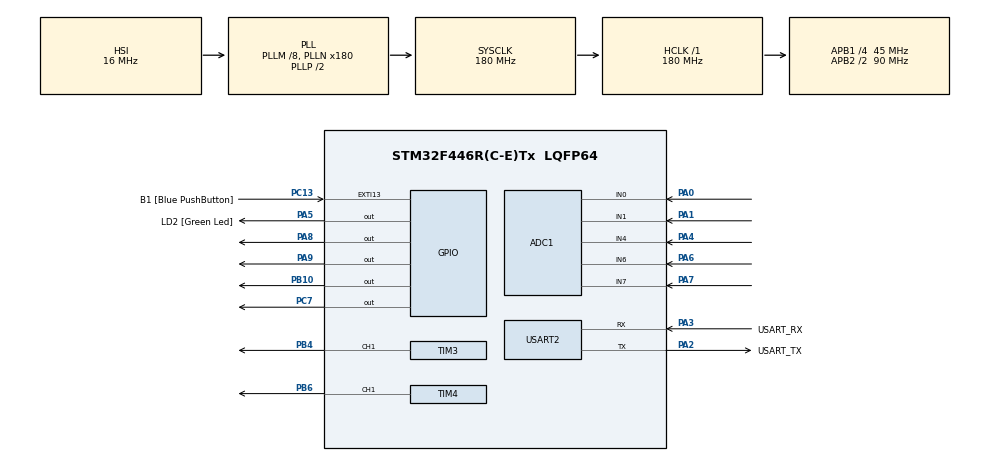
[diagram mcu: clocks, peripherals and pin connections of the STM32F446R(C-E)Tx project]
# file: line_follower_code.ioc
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ADC1.Channel-0\#ChannelRegularConversion=ADC_CHANNEL_4
ADC1.ContinuousConvMode=ENABLE
ADC1.NbrOfConversionFlag=1
ADC1.Rank-0\#ChannelRegularConversion=1
ADC1.SamplingTime-0\#ChannelRegularConversion=ADC_SAMPLETIME_3CYCLES
ADC1.ScanConvMode=ENABLE
ADC1.master=1
Mcu.Family=STM32F4
Mcu.Name=STM32F446R(C-E)Tx
Mcu.Package=LQFP64
NVIC.PriorityGroup=NVIC_PRIORITYGROUP_0
PA0-WKUP.Signal=ADCx_IN0
PA1.Signal=ADCx_IN1
PA13.GPIO_Label=TMS
PA13.Mode=Serial_Wire
PA13.Signal=SYS_JTMS-SWDIO
PA14.GPIO_Label=TCK
PA14.Mode=Serial_Wire
PA14.Signal=SYS_JTCK-SWCLK
PA2.GPIO_Label=USART_TX
PA2.Mode=Asynchronous
PA2.Signal=USART2_TX
PA3.GPIO_Label=USART_RX
PA3.Mode=Asynchronous
PA3.Signal=USART2_RX
PA4.Signal=ADCx_IN4
PA5.GPIO_Label=LD2 [Green Led]
PA5.Signal=GPIO_Output
PA6.Signal=ADCx_IN6
PA7.Signal=ADCx_IN7
PA8.Signal=GPIO_Output
PA9.Signal=GPIO_Output
PB10.Signal=GPIO_Output
PB4.Signal=S_TIM3_CH1
PB6.Signal=S_TIM4_CH1
PC13.GPIO_Label=B1 [Blue PushButton]
PC13.GPIO_ModeDefaultEXTI=GPIO_MODE_IT_FALLING
PC13.Signal=GPXTI13
PC14-OSC32_IN.Mode=LSE-External-Oscillator
PC14-OSC32_IN.Signal=RCC_OSC32_IN
PC15-OSC32_OUT.Mode=LSE-External-Oscillator
PC15-OSC32_OUT.Signal=RCC_OSC32_OUT
PC7.Signal=GPIO_Output
PH0-OSC_IN.Mode=HSE-External-Oscillator
PH0-OSC_IN.Signal=RCC_OSC_IN
PH1-OSC_OUT.Mode=HSE-External-Oscillator
PH1-OSC_OUT.Signal=RCC_OSC_OUT
ProjectManager.HeapSize=0x200
ProjectManager.StackSize=0x400
ProjectManager.TargetToolchain=STM32CubeIDE
RCC.48MHZClocksFreq_Value=84000000
RCC.AHBFreq_Value=180000000
RCC.APB1CLKDivider=RCC_HCLK_DIV4
RCC.APB1Freq_Value=45000000
RCC.APB1TimFreq_Value=90000000
RCC.APB2CLKDivider=RCC_HCLK_DIV2
RCC.APB2Freq_Value=90000000
RCC.APB2TimFreq_Value=180000000
RCC.CortexFreq_Value=180000000
RCC.FLatency-AdvancedSettings=FLASH_LATENCY_5
RCC.HCLKFreq_Value=180000000
RCC.HSE_VALUE=8000000
RCC.HSI_VALUE=16000000
RCC.PLLM=8
RCC.PLLN=180
RCC.SYSCLKFreq_VALUE=180000000
RCC.SYSCLKSource=RCC_SYSCLKSOURCE_PLLCLK
RCC.USBFreq_Value=180000000
RCC.VCOOutputFreq_Value=360000000
SH.ADCx_IN0.0=ADC1_IN0,IN0
SH.ADCx_IN1.0=ADC1_IN1,IN1
SH.ADCx_IN4.0=ADC1_IN4,IN4
SH.ADCx_IN6.0=ADC1_IN6,IN6
SH.ADCx_IN7.0=ADC1_IN7,IN7
SH.S_TIM3_CH1.0=TIM3_CH1,PWM Generation1 CH1
SH.S_TIM4_CH1.0=TIM4_CH1,PWM Generation1 CH1
TIM3.AutoReloadPreload=TIM_AUTORELOAD_PRELOAD_ENABLE
TIM3.Channel-PWM\ Generation1\ CH1=TIM_CHANNEL_1
TIM4.AutoReloadPreload=TIM_AUTORELOAD_PRELOAD_ENABLE
TIM4.Channel-PWM\ Generation1\ CH1=TIM_CHANNEL_1
USART2.VirtualMode=VM_ASYNC
board=NUCLEO-F446RE

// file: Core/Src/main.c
/* USER CODE BEGIN Header */
/**
 ******************************************************************************
 * @file           : main.c
 * @brief          : Main program body
 ******************************************************************************
 * @attention
 *
 * Copyright (c) 2023 STMicroelectronics.
 * All rights reserved.
 *
 * This software is licensed under terms that can be found in the LICENSE file
 * in the root directory of this software component.
 * If no LICENSE file comes with this software, it is provided AS-IS.
 *
 ******************************************************************************
 */
/* USER CODE END Header */
#include "main.h"

ADC_HandleTypeDef hadc1;

TIM_HandleTypeDef htim3;
TIM_HandleTypeDef htim4;

UART_HandleTypeDef huart2;

/* USER CODE BEGIN PV */

int uturn = 100;
int th[5] = { 582, 595, 401, 475, 425 };
int sen_pins[5] = { 0, 1, 4, 6, 7 };
int i, sen[5], s[5], lastSensor, lastError;
int base_L = 175;
int base_R = 175;
float kp = 2.0;
float kd = 0.4;

/* USER CODE END PV */

void SystemClock_Config(void);
static void MX_GPIO_Init(void);
static void MX_USART2_UART_Init(void);
static void MX_ADC1_Init(void);
static void MX_TIM3_Init(void);
static void MX_TIM4_Init(void);
/* USER CODE BEGIN PFP */
void ADC_Select_Channel(int a);
int analogRead(int a);
int readSensor();
void wheel(int lm, int rm);
void line_follow();
void analogWrite1(int data_speed);
void analogWrite2(int data_speed);

/* USER CODE END PFP */

int main(void) {

	/* MCU Configuration--------------------------------------------------------*/

	/* Reset of all peripherals, Initializes the Flash interface and the Systick. */
	HAL_Init();

	/* Configure the system clock */
	SystemClock_Config();

	/* Initialize all configured peripherals */
	MX_GPIO_Init();
	MX_USART2_UART_Init();
	MX_ADC1_Init();
	MX_TIM3_Init();
	MX_TIM4_Init();
	/* USER CODE BEGIN 2 */
	HAL_TIM_PWM_Start(&htim3, TIM_CHANNEL_1);
	HAL_TIM_PWM_Start(&htim4, TIM_CHANNEL_1);

	/* USER CODE END 2 */

	/* Infinite loop */
	while (1) {

		/* USER CODE BEGIN 3 */
		line_follow();
	}
	/* USER CODE END 3 */
}

void SystemClock_Config(void) {
	RCC_OscInitTypeDef RCC_OscInitStruct = { 0 };
	RCC_ClkInitTypeDef RCC_ClkInitStruct = { 0 };

	/** Configure the main internal regulator output voltage
	 */
	__HAL_RCC_PWR_CLK_ENABLE();
	__HAL_PWR_VOLTAGESCALING_CONFIG(PWR_REGULATOR_VOLTAGE_SCALE1);

	/** Initializes the RCC Oscillators according to the specified parameters
	 * in the RCC_OscInitTypeDef structure.
	 */
	RCC_OscInitStruct.OscillatorType = RCC_OSCILLATORTYPE_HSI;
	RCC_OscInitStruct.HSIState = RCC_HSI_ON;
	RCC_OscInitStruct.HSICalibrationValue = RCC_HSICALIBRATION_DEFAULT;
	RCC_OscInitStruct.PLL.PLLState = RCC_PLL_ON;
	RCC_OscInitStruct.PLL.PLLSource = RCC_PLLSOURCE_HSI;
	RCC_OscInitStruct.PLL.PLLM = 8;
	RCC_OscInitStruct.PLL.PLLN = 180;
	RCC_OscInitStruct.PLL.PLLP = RCC_PLLP_DIV2;
	RCC_OscInitStruct.PLL.PLLQ = 2;
	RCC_OscInitStruct.PLL.PLLR = 2;
	if (HAL_RCC_OscConfig(&RCC_OscInitStruct) != HAL_OK) {
		Error_Handler();
	}

	/** Activate the Over-Drive mode
	 */
	if (HAL_PWREx_EnableOverDrive() != HAL_OK) {
		Error_Handler();
	}

	/** Initializes the CPU, AHB and APB buses clocks
	 */
	RCC_ClkInitStruct.ClockType = RCC_CLOCKTYPE_HCLK | RCC_CLOCKTYPE_SYSCLK
			| RCC_CLOCKTYPE_PCLK1 | RCC_CLOCKTYPE_PCLK2;
	RCC_ClkInitStruct.SYSCLKSource = RCC_SYSCLKSOURCE_PLLCLK;
	RCC_ClkInitStruct.AHBCLKDivider = RCC_SYSCLK_DIV1;
	RCC_ClkInitStruct.APB1CLKDivider = RCC_HCLK_DIV4;
	RCC_ClkInitStruct.APB2CLKDivider = RCC_HCLK_DIV2;

	if (HAL_RCC_ClockConfig(&RCC_ClkInitStruct, FLASH_LATENCY_5) != HAL_OK) {
		Error_Handler();
	}
}

static void MX_ADC1_Init(void) {

	ADC_ChannelConfTypeDef sConfig = { 0 };

	/** Configure the global features of the ADC (Clock, Resolution, Data Alignment and number of conversion)
	 */
	hadc1.Instance = ADC1;
	hadc1.Init.ClockPrescaler = ADC_CLOCK_SYNC_PCLK_DIV4;
	hadc1.Init.Resolution = ADC_RESOLUTION_12B;
	hadc1.Init.ScanConvMode = ENABLE;
	hadc1.Init.ContinuousConvMode = ENABLE;
	hadc1.Init.DiscontinuousConvMode = DISABLE;
	hadc1.Init.ExternalTrigConvEdge = ADC_EXTERNALTRIGCONVEDGE_NONE;
	hadc1.Init.ExternalTrigConv = ADC_SOFTWARE_START;
	hadc1.Init.DataAlign = ADC_DATAALIGN_RIGHT;
	hadc1.Init.NbrOfConversion = 1;
	hadc1.Init.DMAContinuousRequests = DISABLE;
	hadc1.Init.EOCSelection = ADC_EOC_SINGLE_CONV;
	if (HAL_ADC_Init(&hadc1) != HAL_OK) {
		Error_Handler();
	}

	/** Configure for the selected ADC regular channel its corresponding rank in the sequencer and its sample time.
	 */
	sConfig.Channel = ADC_CHANNEL_4;
	sConfig.Rank = 1;
	sConfig.SamplingTime = ADC_SAMPLETIME_3CYCLES;
	if (HAL_ADC_ConfigChannel(&hadc1, &sConfig) != HAL_OK) {
		Error_Handler();
	}

}

static void MX_TIM3_Init(void) {

	TIM_MasterConfigTypeDef sMasterConfig = { 0 };
	TIM_OC_InitTypeDef sConfigOC = { 0 };

	htim3.Instance = TIM3;
	htim3.Init.Prescaler = 0;
	htim3.Init.CounterMode = TIM_COUNTERMODE_UP;
	htim3.Init.Period = 65535;
	htim3.Init.ClockDivision = TIM_CLOCKDIVISION_DIV1;
	htim3.Init.AutoReloadPreload = TIM_AUTORELOAD_PRELOAD_ENABLE;
	if (HAL_TIM_PWM_Init(&htim3) != HAL_OK) {
		Error_Handler();
	}
	sMasterConfig.MasterOutputTrigger = TIM_TRGO_RESET;
	sMasterConfig.MasterSlaveMode = TIM_MASTERSLAVEMODE_DISABLE;
	if (HAL_TIMEx_MasterConfigSynchronization(&htim3, &sMasterConfig)
			!= HAL_OK) {
		Error_Handler();
	}
	sConfigOC.OCMode = TIM_OCMODE_PWM1;
	sConfigOC.Pulse = 0;
	sConfigOC.OCPolarity = TIM_OCPOLARITY_HIGH;
	sConfigOC.OCFastMode = TIM_OCFAST_DISABLE;
	if (HAL_TIM_PWM_ConfigChannel(&htim3, &sConfigOC, TIM_CHANNEL_1)
			!= HAL_OK) {
		Error_Handler();
	}
	HAL_TIM_MspPostInit(&htim3);

}

static void MX_TIM4_Init(void) {

	TIM_MasterConfigTypeDef sMasterConfig = { 0 };
	TIM_OC_InitTypeDef sConfigOC = { 0 };

	htim4.Instance = TIM4;
	htim4.Init.Prescaler = 0;
	htim4.Init.CounterMode = TIM_COUNTERMODE_UP;
	htim4.Init.Period = 65535;
	htim4.Init.ClockDivision = TIM_CLOCKDIVISION_DIV1;
	htim4.Init.AutoReloadPreload = TIM_AUTORELOAD_PRELOAD_ENABLE;
	if (HAL_TIM_PWM_Init(&htim4) != HAL_OK) {
		Error_Handler();
	}
	sMasterConfig.MasterOutputTrigger = TIM_TRGO_RESET;
	sMasterConfig.MasterSlaveMode = TIM_MASTERSLAVEMODE_DISABLE;
	if (HAL_TIMEx_MasterConfigSynchronization(&htim4, &sMasterConfig)
			!= HAL_OK) {
		Error_Handler();
	}
	sConfigOC.OCMode = TIM_OCMODE_PWM1;
	sConfigOC.Pulse = 0;
	sConfigOC.OCPolarity = TIM_OCPOLARITY_HIGH;
	sConfigOC.OCFastMode = TIM_OCFAST_DISABLE;
	if (HAL_TIM_PWM_ConfigChannel(&htim4, &sConfigOC, TIM_CHANNEL_1)
			!= HAL_OK) {
		Error_Handler();
	}
	HAL_TIM_MspPostInit(&htim4);

}

static void MX_USART2_UART_Init(void) {

	huart2.Instance = USART2;
	huart2.Init.BaudRate = 115200;
	huart2.Init.WordLength = UART_WORDLENGTH_8B;
	huart2.Init.StopBits = UART_STOPBITS_1;
	huart2.Init.Parity = UART_PARITY_NONE;
	huart2.Init.Mode = UART_MODE_TX_RX;
	huart2.Init.HwFlowCtl = UART_HWCONTROL_NONE;
	huart2.Init.OverSampling = UART_OVERSAMPLING_16;
	if (HAL_UART_Init(&huart2) != HAL_OK) {
		Error_Handler();
	}

}

static void MX_GPIO_Init(void) {
	GPIO_InitTypeDef GPIO_InitStruct = { 0 };

	/* GPIO Ports Clock Enable */
	__HAL_RCC_GPIOC_CLK_ENABLE();
	__HAL_RCC_GPIOH_CLK_ENABLE();
	__HAL_RCC_GPIOA_CLK_ENABLE();
	__HAL_RCC_GPIOB_CLK_ENABLE();

	/*Configure GPIO pin Output Level */
	HAL_GPIO_WritePin(GPIOA, LD2_Pin | GPIO_PIN_8 | GPIO_PIN_9, GPIO_PIN_RESET);

	/*Configure GPIO pin Output Level */
	HAL_GPIO_WritePin(GPIOB, GPIO_PIN_10, GPIO_PIN_RESET);

	/*Configure GPIO pin Output Level */
	HAL_GPIO_WritePin(GPIOC, GPIO_PIN_7, GPIO_PIN_RESET);

	/*Configure GPIO pin : B1_Pin */
	GPIO_InitStruct.Pin = B1_Pin;
	GPIO_InitStruct.Mode = GPIO_MODE_IT_FALLING;
	GPIO_InitStruct.Pull = GPIO_NOPULL;
	HAL_GPIO_Init(B1_GPIO_Port, &GPIO_InitStruct);

	/*Configure GPIO pins : LD2_Pin PA8 PA9 */
	GPIO_InitStruct.Pin = LD2_Pin | GPIO_PIN_8 | GPIO_PIN_9;
	GPIO_InitStruct.Mode = GPIO_MODE_OUTPUT_PP;
	GPIO_InitStruct.Pull = GPIO_NOPULL;
	GPIO_InitStruct.Speed = GPIO_SPEED_FREQ_LOW;
	HAL_GPIO_Init(GPIOA, &GPIO_InitStruct);

	/*Configure GPIO pin : PB10 */
	GPIO_InitStruct.Pin = GPIO_PIN_10;
	GPIO_InitStruct.Mode = GPIO_MODE_OUTPUT_PP;
	GPIO_InitStruct.Pull = GPIO_NOPULL;
	GPIO_InitStruct.Speed = GPIO_SPEED_FREQ_LOW;
	HAL_GPIO_Init(GPIOB, &GPIO_InitStruct);

	/*Configure GPIO pin : PC7 */
	GPIO_InitStruct.Pin = GPIO_PIN_7;
	GPIO_InitStruct.Mode = GPIO_MODE_OUTPUT_PP;
	GPIO_InitStruct.Pull = GPIO_NOPULL;
	GPIO_InitStruct.Speed = GPIO_SPEED_FREQ_LOW;
	HAL_GPIO_Init(GPIOC, &GPIO_InitStruct);

}

/* USER CODE BEGIN 4 */
void ADC_Select_Channel(int a) {
	ADC_ChannelConfTypeDef sConfig = { 0 };
	/** Configure for the selected ADC regular channel its corresponding rank in the sequencer and its sample time.
	 */
	if (a == 0) {
		sConfig.Channel = ADC_CHANNEL_0;

	}
	if (a == 1) {
		sConfig.Channel = ADC_CHANNEL_1;

	}
	if (a == 4) {
		sConfig.Channel = ADC_CHANNEL_4;

	}
	if (a == 6) {
		sConfig.Channel = ADC_CHANNEL_6;

	}
	if (a == 7) {
		sConfig.Channel = ADC_CHANNEL_7;

	}

	sConfig.Rank = 1;
	sConfig.SamplingTime = ADC_SAMPLETIME_28CYCLES;
	if (HAL_ADC_ConfigChannel(&hadc1, &sConfig) != HAL_OK) {
		Error_Handler();
	}

}

int analogRead(int a) {
	//for channel 0
	int adc_data;
	ADC_Select_Channel(a);
	HAL_ADC_Start(&hadc1);
	HAL_ADC_PollForConversion(&hadc1, 1000);
	adc_data = HAL_ADC_GetValue(&hadc1);
	HAL_ADC_Stop(&hadc1);
	return adc_data;

}
;
int readSensor() {
	for (i = 0; i < 5; i++) {
		sen[i] = analogRead(sen_pins[i]);
		if (sen[i] < th[i]) {
			s[i] = 1;
		} else {
			s[i] = 0;
		}
	}

	int error, sum;
	sum = s[0] + s[1] + s[2] + s[3] + s[4];
	if (sum != 0) {
		error = (s[0] * 10 + s[1] * 20 + s[2] * 30 + s[3] * 40 + s[4] * 50)
				/ sum - 30;
	} else {
		error = 420;
	}

	if (s[0] == 1)
		lastSensor = 1;
	else if (s[4] == 1)
		lastSensor = 2;
	// Serial.println(error);
	return error;
}

void wheel(int lm, int rm) {
	if (lm == 0) {

		HAL_GPIO_WritePin(GPIOB, GPIO_PIN_10, GPIO_PIN_RESET);
		HAL_GPIO_WritePin(GPIOA, GPIO_PIN_8, GPIO_PIN_RESET);

	}
	if (lm > 0) {
		HAL_GPIO_WritePin(GPIOB, GPIO_PIN_10, GPIO_PIN_SET);
		HAL_GPIO_WritePin(GPIOA, GPIO_PIN_8, GPIO_PIN_RESET);

	} else if (lm < 0) {
		HAL_GPIO_WritePin(GPIOB, GPIO_PIN_10, GPIO_PIN_RESET);
		HAL_GPIO_WritePin(GPIOA, GPIO_PIN_8, GPIO_PIN_SET);

	}

	if (rm == 0) {
		HAL_GPIO_WritePin(GPIOA, GPIO_PIN_9, GPIO_PIN_RESET);
		HAL_GPIO_WritePin(GPIOC, GPIO_PIN_7, GPIO_PIN_RESET);

	}
	if (rm > 0) {
		HAL_GPIO_WritePin(GPIOA, GPIO_PIN_9, GPIO_PIN_SET);
		HAL_GPIO_WritePin(GPIOC, GPIO_PIN_7, GPIO_PIN_RESET);

	} else if (rm < 0) {
		HAL_GPIO_WritePin(GPIOA, GPIO_PIN_9, GPIO_PIN_RESET);
		HAL_GPIO_WritePin(GPIOC, GPIO_PIN_7, GPIO_PIN_SET);

	}
	if (lm > 254)
		lm = 254;
	if (lm < -254)
		lm = -254;
	if (rm > 254)
		rm = 254;
	if (rm < -254)
		rm = -254;

	analogWrite1(abs(rm));
	analogWrite2(abs(lm));

}
void analogWrite1(int data_speed) {
	int32_t CH1_DC = 0;
	while (CH1_DC < data_speed) {
		TIM3->CCR1 = CH1_DC;
		CH1_DC += 70;
		HAL_Delay(1);
	}
}
void analogWrite2(int data_speed) {
	int32_t CH1_DC = 0;
	while (CH1_DC < data_speed) {
		TIM4->CCR1 = CH1_DC;
		CH1_DC += 70;
		HAL_Delay(1);
	}
}
void line_follow() {
	int error, corr;
	float p, d;
	error = readSensor();
	if (error == 420) {
		if (lastSensor == 1)
			wheel(-uturn, uturn);
		else if (lastSensor == 2)
			wheel(uturn, -uturn);
	} else {
		p = kp * error;
		d = kd * (error - lastError);
		corr = p + d;
		//  Serial.println(corr);
		wheel(base_L + corr, base_R - corr);
		if ((error - lastError) != 0)
			HAL_Delay(5);
		lastError = error;
	}

}
/* USER CODE END 4 */

void Error_Handler(void) {
	__disable_irq();
	while (1) {
	}
}
